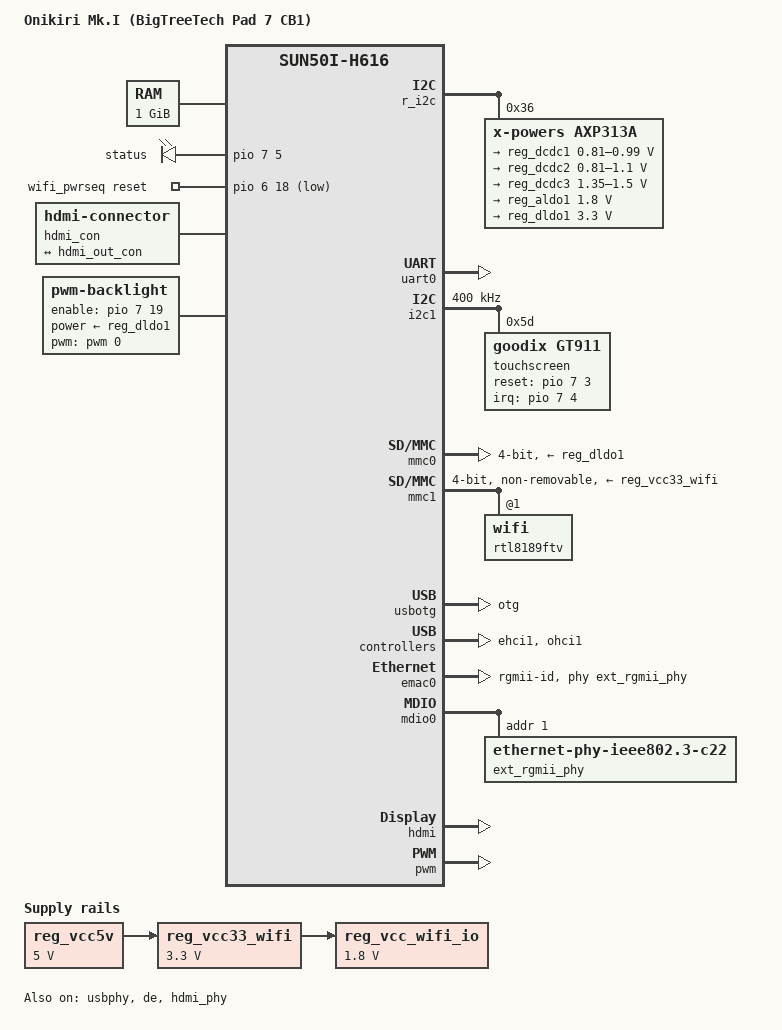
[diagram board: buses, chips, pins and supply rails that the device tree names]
// SPDX-License-Identifier: (GPL-2.0+ OR MIT)
// Device Tree Source — BigTreeTech Pad 7 (CB1 module, Allwinner H616)
// Onikiri Mk.I pentesting platform

/dts-v1/;

#include <dt-bindings/gpio/gpio.h>
#include <dt-bindings/interrupt-controller/irq.h>
#include <dt-bindings/interrupt-controller/arm-gic.h>
#include "sun50i-h616.dtsi"
#include "sun50i-h616-hdmi.dtsi"

/ {
	model = "Onikiri Mk.I (BigTreeTech Pad 7 CB1)";
	compatible = "bigtreetech,pad7-cb1", "allwinner,sun50i-h616";

	aliases {
		serial0 = &uart0;
		mmc0    = &mmc0;
		mmc1    = &mmc1;
		ethernet0 = &emac0;
	};

	chosen {
		stdout-path = "serial0:115200n8";
		// bootargs are supplied by U-Boot boot.cmd via setenv bootargs.
		// Do NOT set bootargs here — U-Boot writes its env into the DTB's
		// chosen node, and a non-empty DTS value can conflict in some
		// U-Boot versions, causing the wrong root= to be used.
	};

	// 1 GiB DDR3L on CB1
	memory@40000000 {
		device_type = "memory";
		reg = <0x0 0x40000000 0x0 0x40000000>;
	};

	// ── LEDs ───────────────────────────────────────────────────────────────

	leds {
		compatible = "gpio-leds";

		led-status {
			label = "status";
			gpios = <&pio 7 5 GPIO_ACTIVE_HIGH>;  // PH5 — green LED
			linux,default-trigger = "heartbeat";
			default-state = "on";
		};
	};

	// ── Power regulators ───────────────────────────────────────────────────

	reg_vcc5v: regulator-vcc5v {
		compatible = "regulator-fixed";
		regulator-name = "vcc-5v";
		regulator-min-microvolt = <5000000>;
		regulator-max-microvolt = <5000000>;
		regulator-always-on;
	};

	reg_vcc33_wifi: regulator-vcc33-wifi {
		compatible = "regulator-fixed";
		regulator-name = "vcc33-wifi";
		regulator-min-microvolt = <3300000>;
		regulator-max-microvolt = <3300000>;
		regulator-always-on;
		vin-supply = <&reg_vcc5v>;
	};

	reg_vcc_wifi_io: regulator-vcc-wifi-io {
		compatible = "regulator-fixed";
		regulator-name = "vcc-wifi-io";
		regulator-min-microvolt = <1800000>;
		regulator-max-microvolt = <1800000>;
		regulator-always-on;
		vin-supply = <&reg_vcc33_wifi>;
	};

	// ── Wi-Fi power / reset ────────────────────────────────────────────────

	wifi_pwrseq: wifi-pwrseq {
		compatible = "mmc-pwrseq-simple";
		clocks = <&rtc 1>;
		clock-names = "ext_clock";
		reset-gpios = <&pio 6 18 GPIO_ACTIVE_LOW>;  // PG18 — CB1 WiFi reset
		post-power-on-delay-ms = <200>;
	};

	// ── HDMI connector (internal 7" IPS, 1024×600) ────────────────────────

	hdmi_con: connector {
		compatible = "hdmi-connector";
		type = "d";  // Micro HDMI (internal connection to LCD panel)

		// The internal 7" panel does not implement HDMI HPD (hot-plug
		// detect). Without no-hpd the driver waits for a HPD pulse that
		// never comes and never sets a display mode.
		no-hpd;

		port {
			hdmi_con_in: endpoint {
				remote-endpoint = <&hdmi_out_con>;
			};
		};
	};

	// ── Backlight (PWM-controlled) ─────────────────────────────────────────

	backlight: backlight {
		compatible = "pwm-backlight";
		pwms = <&pwm 0 50000 0>;
		brightness-levels = <0 16 32 48 64 80 96 128 160 192 224 255>;
		default-brightness-level = <9>;
		enable-gpios = <&pio 7 19 GPIO_ACTIVE_HIGH>;  // PH19 backlight enable
		power-supply = <&reg_dldo1>;
	};
};

// ── CPU voltage supply ────────────────────────────────────────────────────────

&cpu0 {
	cpu-supply = <&reg_dcdc2>;
};

// ── R_I2C — AXP313A PMIC ───────────────────────────────────────────────────────

&r_i2c {
	pinctrl-names = "default";
	pinctrl-0 = <&r_i2c_pins>;
	status = "okay";

	axp313a: pmic@36 {
		compatible = "x-powers,axp313a";
		reg = <0x36>;
		interrupt-controller;
		#interrupt-cells = <1>;

		regulators {
			reg_dcdc1: dcdc1 {
				regulator-name = "vdd-gpu-sys";
				regulator-min-microvolt = <810000>;
				regulator-max-microvolt = <990000>;
				regulator-always-on;
			};

			reg_dcdc2: dcdc2 {
				regulator-name = "vdd-cpu";
				regulator-min-microvolt = <810000>;
				regulator-max-microvolt = <1100000>;
				regulator-ramp-delay = <200>;
				regulator-always-on;
			};

			reg_dcdc3: dcdc3 {
				regulator-name = "vcc-dram";
				regulator-min-microvolt = <1350000>;
				regulator-max-microvolt = <1500000>;
				regulator-always-on;
			};

			reg_aldo1: aldo1 {
				regulator-name = "vcc-1v8-pll";
				regulator-min-microvolt = <1800000>;
				regulator-max-microvolt = <1800000>;
				regulator-always-on;
			};

			reg_dldo1: dldo1 {
				regulator-name = "vcc-3v3-io";
				regulator-min-microvolt = <3300000>;
				regulator-max-microvolt = <3300000>;
				regulator-always-on;
			};
		};
	};
};

// ── UART0 console ──────────────────────────────────────────────────────────────

&uart0 {
	pinctrl-names = "default";
	pinctrl-0 = <&uart0_ph_pins>;
	status = "okay";
};

// ── I2C1 — Touchscreen (Goodix GT911) ─────────────────────────────────────────

&i2c1 {
	status = "okay";
	clock-frequency = <400000>;

	touchscreen: touchscreen@5d {
		compatible = "goodix,gt911";
		reg = <0x5d>;
		interrupt-parent = <&pio>;
		interrupts = <7 4 IRQ_TYPE_EDGE_FALLING>;  // PH4
		reset-gpios   = <&pio 7 3 GPIO_ACTIVE_HIGH>;  // PH3
		irq-gpios     = <&pio 7 4 GPIO_ACTIVE_HIGH>;  // PH4
		touchscreen-size-x = <1024>;
		touchscreen-size-y = <600>;
	};
};

// ── MMC0 — microSD card (rootfs) ───────────────────────────────────────────────

&mmc0 {
	pinctrl-names = "default";
	pinctrl-0 = <&mmc0_pins>;
	vmmc-supply  = <&reg_dldo1>;
	// Card detection pin not connected on CB1
	broken-cd;
	bus-width    = <4>;
	max-frequency = <50000000>;
	status = "okay";
};

// ── MMC1 — SDIO Wi-Fi (RTL8821CS) ─────────────────────────────────────────────

&mmc1 {
	pinctrl-names = "default";
	pinctrl-0 = <&mmc1_pins>;
	vmmc-supply  = <&reg_vcc33_wifi>;
	vqmmc-supply = <&reg_vcc_wifi_io>;
	mmc-pwrseq   = <&wifi_pwrseq>;
	bus-width    = <4>;
	max-frequency = <50000000>;
	non-removable;
	mmc-ddr-1_8v;
	status = "okay";

	rtl8189ftv: wifi@1 {
		reg = <1>;
	};
};

// ── USB OTG (DWC2) ─────────────────────────────────────────────────────────────

&usbotg {
	dr_mode = "otg";
	status = "okay";
};

&usbphy {
	usb0_vbus-supply = <&reg_vcc5v>;
	usb1_vbus-supply = <&reg_vcc5v>;
	status = "okay";
};

// ── USB Host ────────────────────────────────────────────────────────────────────

&ehci1 {
	status = "okay";
};

&ohci1 {
	status = "okay";
};

// ── Ethernet (on-SoC EMAC via USB-attached PHY on some CB1 revisions) ──────────

&emac0 {
	pinctrl-names = "default";
	pinctrl-0 = <&ext_rgmii_pins>;
	phy-mode = "rgmii-id";
	phy-handle = <&ext_rgmii_phy>;
	allwinner,rx-delay-ps = <200>;
	allwinner,tx-delay-ps = <700>;
	status = "okay";
};

&mdio0 {
	ext_rgmii_phy: ethernet-phy@1 {
		compatible = "ethernet-phy-ieee802.3-c22";
		reg = <1>;
	};
};

// ── Display Engine & HDMI ──────────────────────────────────────────────────────

&de {
	status = "okay";
};

&hdmi {
	hvcc-supply = <&reg_dldo1>;
	status = "okay";
};

&hdmi_phy {
	/*
	 * H616 HDMI PHY needs dedicated analog rails; without these, DRM may
	 * bind but the TMDS link can stay dark (backlight only symptom).
	 */
	avdd-0v9-supply = <&reg_dcdc1>;
	avdd-1v8-supply = <&reg_aldo1>;
	status = "okay";
};

&hdmi_out {
	hdmi_out_con: endpoint {
		remote-endpoint = <&hdmi_con_in>;
	};
};

// ── PWM (backlight) ────────────────────────────────────────────────────────────

&pwm {
	status = "okay";
};
